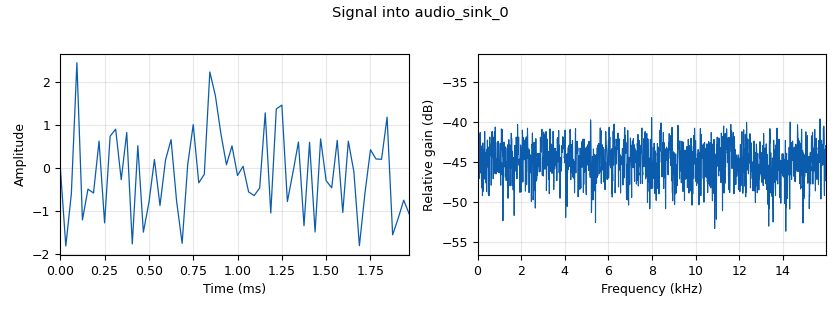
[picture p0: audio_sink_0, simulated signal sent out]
<?xml version='1.0' encoding='utf-8'?>
<flow_graph>
<block>
<key>options</key>
<param><key>id</key><value>top_block</value></param>
<param><key>generate_options</key><value>wx_gui</value></param>
<param><key>category</key><value>Custom</value></param>
</block>
<block>
<key>variable</key>
<param><key>id</key><value>samp_rate</value></param>
<param><key>value</key><value>32000</value></param>
</block>
<block>
<key>audio_sink</key>
<param><key>id</key><value>audio_sink_0</value></param>
<param><key>samp_rate</key><value>samp_rate</value></param>
</block>
<block>
<key>analog_fastnoise_source_x</key>
<param><key>id</key><value>analog_fastnoise_source_x_0</value></param>
<param><key>type</key><value>float</value></param>
<param><key>noise_type</key><value>analog.GR_GAUSSIAN</value></param>
<param><key>amp</key><value>1</value></param>
<param><key>seed</key><value>0</value></param>
<param><key>samples</key><value>8192</value></param>
</block>
<connection><source_block_id>analog_fastnoise_source_x_0</source_block_id><sink_block_id>audio_sink_0</sink_block_id><source_key>0</source_key><sink_key>0</sink_key></connection>
</flow_graph>
